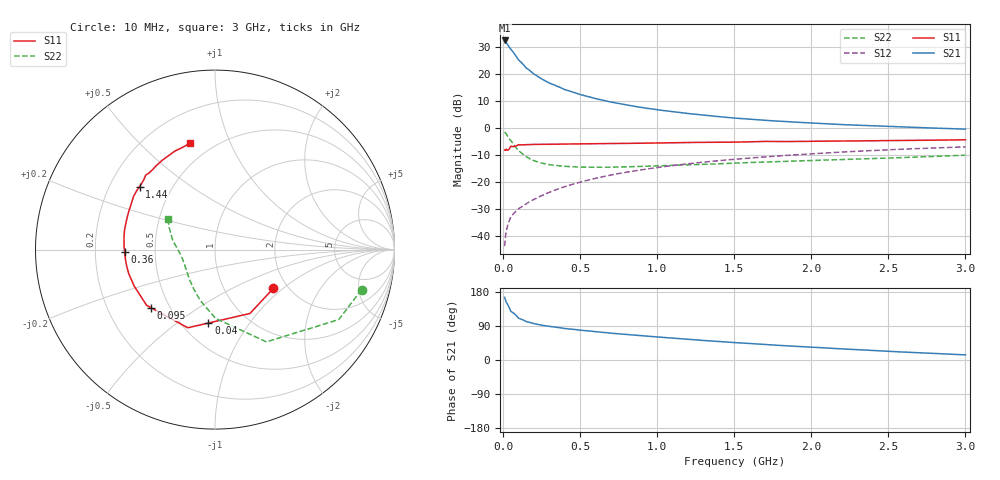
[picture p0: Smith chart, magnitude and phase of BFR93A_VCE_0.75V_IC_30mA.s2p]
! Infineon Technologies  Discrete & RF Semiconductors
! BFR93A
! VCE = 0.75 V,  IC =  30 mA
! Common Emitter S-Parameters:  Nov 2015
# GHz  S  MA  R  50
!  f  S11  S21  S12  S22
! GHz  MAG  ANG  MAG  ANG  MAG  ANG  MAG  ANG
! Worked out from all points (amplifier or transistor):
!   180 points, 10 MHz to 3 GHz, reference 50 ohm
!   highest |S21| = 32.6 dB at 10 MHz (marker M1)
!   |S21| within 3 dB of that: start of sweep to 46.75 MHz
!   unconditionally stable (mu >= 1): 239.6 MHz to end of sweep
!   at 160 MHz: K = 0.88, MSG = 24.9 dB, |S12| = -27.8 dB
!   at 1.22 GHz: K = 1.13, MAG = 7.1 dB, |S12| = -13.1 dB
!   at 3 GHz: K = 1.05, MAG = 2.0 dB, |S12| = -7.0 dB
!   S11 on the Smith chart (normalised r, x): 10 MHz: 1.69, -0.86; 40 MHz: 0.67, -0.66; 95 MHz: 0.39, -0.33; 360 MHz: 0.33, -0.01; 1.44 GHz: 0.33, +0.33; 3 GHz: 0.38, +0.72
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0.01  0.3905 -33.6  42.66 165.6  0.0064 78.6  0.8463 -15.3
0.02  0.4056 -61.3  39.43 153.2  0.0121 70.7  0.7921 -29.5
0.04  0.4106 -95.1  32.04 138.4  0.0189 61.6  0.6327 -48.3
0.05  0.4612 -109.2  29.43 128.6  0.0224 59.1  0.5883 -60.9
0.095  0.4822 -137.9  19.64 113.0  0.0307 55.9  0.3972 -85.5
0.1  0.4915 -140.8  18.69 110.3  0.0316 55.7  0.3829 -89.6
0.15  0.494 -155.7  13.19 101.4  0.0393 58.3  0.2938 -106.6
0.19  0.4971 -162.7  10.75 97.2  0.0457 60.9  0.2564 -115.9
0.2  0.499 -164.4  10.15 95.9  0.0473 61.4  0.2483 -118.7
0.26  0.501 -171.1  7.941 91.1  0.0573 63.7  0.2211 -129.4
0.3  0.5021 -174.3  6.893 88.5  0.0641 65.1  0.2093 -135.2
0.36  0.5037 -178.6  5.88 85.7  0.0747 66.1  0.2 -141.6
0.4  0.5063 178.5  5.215 83.2  0.0817 66.6  0.1953 -146.2
0.52  0.512 171.6  4.08 78.0  0.1027 66.7  0.1885 -154.7
0.7  0.5176 163.8  3.054 70.8  0.1345 65.6  0.1883 -164.3
0.82  0.5217 159.5  2.638 66.7  0.155 64.4  0.1915 -169.2
1.02  0.5298 152.5  2.161 60.2  0.1885 61.7  0.1988 -175.4
1.44  0.5476 140.1  1.598 47.7  0.2547 55.4  0.2197 174.3
1.52  0.5507 137.8  1.527 45.5  0.2664 54.2  0.2248 172.7
2.02  0.5702 125.3  1.238 33.5  0.3362 46.4  0.2505 163.9
2.52  0.588 114.2  1.068 22.6  0.3985 38.2  0.2786 155.4
3  0.6083 103.5  0.959 13.5  0.4487 30.5  0.3141 146.9
